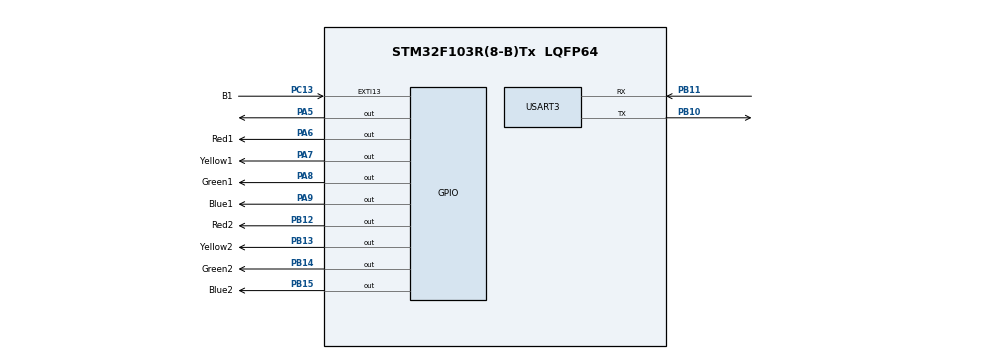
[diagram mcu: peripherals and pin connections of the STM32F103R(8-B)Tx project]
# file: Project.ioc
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FREERTOS.Queues01=CLI_Queue,16,uint16_t,0,Dynamic,NULL,NULL;Status_Queue,16,uint16_t,0,Dynamic,NULL,NULL
FREERTOS.Tasks01=StateController,32,128,State_Controller_Task,Default,NULL,Dynamic,NULL,NULL;CLI,8,128,CLI_Task,Default,NULL,Dynamic,NULL,NULL;Status_Update,8,128,Status_Update_Task,Default,NULL,Dynamic,NULL,NULL
Mcu.Family=STM32F1
Mcu.Name=STM32F103R(8-B)Tx
Mcu.Package=LQFP64
NVIC.PriorityGroup=NVIC_PRIORITYGROUP_4
NVIC.TIM4_IRQn=true\:0\:0\:false\:false\:true\:false\:false\:true
NVIC.TimeBase=TIM4_IRQn
NVIC.TimeBaseIP=TIM4
PA13.Mode=Serial_Wire
PA13.Signal=SYS_JTMS-SWDIO
PA14.Mode=Serial_Wire
PA14.Signal=SYS_JTCK-SWCLK
PA5.Signal=GPIO_Output
PA6.GPIO_Label=Red1
PA6.Signal=GPIO_Output
PA7.GPIO_Label=Yellow1
PA7.Signal=GPIO_Output
PA8.GPIO_Label=Green1
PA8.Signal=GPIO_Output
PA9.GPIO_Label=Blue1
PA9.Signal=GPIO_Output
PB10.Mode=Asynchronous
PB10.Signal=USART3_TX
PB11.Mode=Asynchronous
PB11.Signal=USART3_RX
PB12.GPIO_Label=Red2
PB12.Signal=GPIO_Output
PB13.GPIO_Label=Yellow2
PB13.Signal=GPIO_Output
PB14.GPIO_Label=Green2
PB14.Signal=GPIO_Output
PB15.GPIO_Label=Blue2
PB15.Signal=GPIO_Output
PC13-TAMPER-RTC.GPIO_Label=B1
PC13-TAMPER-RTC.Signal=GPXTI13
ProjectManager.HeapSize=0x200
ProjectManager.StackSize=0x400
ProjectManager.TargetToolchain=STM32CubeIDE
RCC.APB1Freq_Value=8000000
RCC.APB2Freq_Value=8000000
TIM2.Prescaler=8000
USART3.VirtualMode=VM_ASYNC
VP_FREERTOS_VS_CMSIS_V2.Mode=CMSIS_V2
VP_SYS_VS_tim4.Mode=TIM4
VP_TIM2_VS_ClockSourceINT.Mode=Internal
board=custom

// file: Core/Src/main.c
/* USER CODE BEGIN Header */
/**
  ******************************************************************************
  * @file           : main.c
  * @brief          : Main program body
  ******************************************************************************
  * @attention
  *
  * <h2><center>&copy; Copyright (c) 2020 STMicroelectronics.
  * All rights reserved.</center></h2>
  *
  * This software component is licensed by ST under BSD 3-Clause license,
  * the "License"; You may not use this file except in compliance with the
  * License. You may obtain a copy of the License at:
  *                        opensource.org/licenses/BSD-3-Clause
  *
  ******************************************************************************
  */

/*******************************************************************************
 *
 * Author: Justin Igmen
 * Class: ENEL 487
 * SID: 200364880
 *
 * This program simulates a traffic light controller.
 *
 * Credits: Trevor Douglas for providing part of the main.c file
 *
 *******************************************************************************/

/* USER CODE END Header */
#include "main.h"
#include "cmsis_os.h"

/* USER CODE BEGIN Includes */
#include "./usr/CLI.h"
#include <stdio.h>
#include <stdlib.h>
#include <string.h>
/* USER CODE END Includes */

/* USER CODE BEGIN PD */
#define DEFAULT_PERIOD		1

#define FSM_MODE 			1000
#define SCM_MODE 			2000
#define ATM					100

#define FSM_ON 				1500
#define FSM_OFF 			500

#define PRI_GREEN_TIME 		83500
#define PRI_YELLOW_TIME		3500
#define SEC_GREEN_TIME		28000
#define SEC_YELLOW_TIME		3500
#define ALL_RED_TIME		6000

#define WALK_BLINK_TIME		1000
#define PRI_WALK_TIME		70500
#define	PRI_WALK_WARN_TIME	13000
#define	PRI_DONT_WALK_TIME	41000
#define SEC_WALK_TIME		93000
#define	SEC_WALK_WARN_TIME	11500
#define	SEC_DONT_WALK_TIME	20000
/* USER CODE END PD */

TIM_HandleTypeDef htim2;

UART_HandleTypeDef huart3;

/* Definitions for StateController */
osThreadId_t StateControllerHandle;
const osThreadAttr_t StateController_attributes = {
  .name = "StateController",
  .priority = (osPriority_t) osPriorityAboveNormal,
  .stack_size = 128 * 4
};
/* Definitions for CLI */
osThreadId_t CLIHandle;
const osThreadAttr_t CLI_attributes = {
  .name = "CLI",
  .priority = (osPriority_t) osPriorityLow,
  .stack_size = 128 * 4
};
/* Definitions for Status_Update */
osThreadId_t Status_UpdateHandle;
const osThreadAttr_t Status_Update_attributes = {
  .name = "Status_Update",
  .priority = (osPriority_t) osPriorityLow,
  .stack_size = 128 * 4
};
/* Definitions for CLI_Queue */
osMessageQueueId_t CLI_QueueHandle;
const osMessageQueueAttr_t CLI_Queue_attributes = {
  .name = "CLI_Queue"
};
/* Definitions for Status_Queue */
osMessageQueueId_t Status_QueueHandle;
const osMessageQueueAttr_t Status_Queue_attributes = {
  .name = "Status_Queue"
};
/* USER CODE BEGIN PV */
uint8_t cliBufferTX[MAX_USER_INPUT];
uint8_t cliRXChar;
uint8_t cliBufferRX[MAX_USER_INPUT];
bool isCompleteLine = false;
int counter = 0;
uint16_t timer;

/* USER CODE END PV */

void SystemClock_Config(void);
static void MX_GPIO_Init(void);
static void MX_USART3_UART_Init(void);
static void MX_TIM2_Init(void);
void State_Controller_Task(void *argument);
void CLI_Task(void *argument);
void Status_Update_Task(void *argument);

/* USER CODE BEGIN PFP */

void turnOffAllLights();

/* Private function prototypes -----------------------------------------------*/
void SystemClock_Config(void);
static void MX_GPIO_Init(void);
static void MX_USART2_UART_Init(void);
static void MX_USART3_UART_Init(void);
void StartBlink01(void *argument);
void RX_CLI_Task(void *argument);
void Status_CLI_Task(void *argument);

/* USER CODE END PFP */

int main(void)
{
  /* USER CODE BEGIN 1 */
	cmd_counter = 0;
  /* USER CODE END 1 */

  /* MCU Configuration--------------------------------------------------------*/

  /* Reset of all peripherals, Initializes the Flash interface and the Systick. */
  HAL_Init();

  /* Configure the system clock */
  SystemClock_Config();

  /* Initialize all configured peripherals */
  MX_GPIO_Init();
  MX_USART3_UART_Init();
  MX_TIM2_Init();
  /* USER CODE BEGIN 2 */
  turnOffAllLights();

  //Clear the screen
  strcpy ( cliBufferTX, "\x1b[2J" );
  printStringBlocking("\x1b[2J");
  printStringBlocking(CLEAR_SCREEN);   // clear entire screen
  HAL_Delay(500);
  //Print the welcome message
  welcomeMessage();
  HAL_Delay(2000);

  //Clear the screen
  printStringBlocking(CLEAR_SCREEN);   // clear entire screen
  printStringBlocking("\x1b[5;1H");		// cursor to row#, col#

  printStringBlocking("\x1b[5;r");	// set scrolling region
  printStringBlocking("\x1b[5;1H");// cursor to row#, col#
  printStringBlocking(PROMPT);

  /* USER CODE END 2 */

  /* Init scheduler */
  osKernelInitialize();

  /* Create the queue(s) */
  /* creation of CLI_Queue */
  CLI_QueueHandle = osMessageQueueNew (16, sizeof(uint16_t), &CLI_Queue_attributes);

  /* creation of Status_Queue */
  Status_QueueHandle = osMessageQueueNew (16, sizeof(uint16_t), &Status_Queue_attributes);

  /* Create the thread(s) */
  /* creation of StateController */
  StateControllerHandle = osThreadNew(State_Controller_Task, NULL, &StateController_attributes);

  /* creation of CLI */
  CLIHandle = osThreadNew(CLI_Task, NULL, &CLI_attributes);

  /* creation of Status_Update */
  Status_UpdateHandle = osThreadNew(Status_Update_Task, NULL, &Status_Update_attributes);

  /* Start scheduler */
  osKernelStart();

  /* We should never get here as control is now taken by the scheduler */
  /* Infinite loop */
  while (1)
  {

  }
}

void SystemClock_Config(void)
{
  RCC_OscInitTypeDef RCC_OscInitStruct = {0};
  RCC_ClkInitTypeDef RCC_ClkInitStruct = {0};

  /** Initializes the RCC Oscillators according to the specified parameters
  * in the RCC_OscInitTypeDef structure.
  */
  RCC_OscInitStruct.OscillatorType = RCC_OSCILLATORTYPE_HSI;
  RCC_OscInitStruct.HSIState = RCC_HSI_ON;
  RCC_OscInitStruct.HSICalibrationValue = RCC_HSICALIBRATION_DEFAULT;
  RCC_OscInitStruct.PLL.PLLState = RCC_PLL_NONE;
  if (HAL_RCC_OscConfig(&RCC_OscInitStruct) != HAL_OK)
  {
    Error_Handler();
  }
  /** Initializes the CPU, AHB and APB buses clocks
  */
  RCC_ClkInitStruct.ClockType = RCC_CLOCKTYPE_HCLK|RCC_CLOCKTYPE_SYSCLK
                              |RCC_CLOCKTYPE_PCLK1|RCC_CLOCKTYPE_PCLK2;
  RCC_ClkInitStruct.SYSCLKSource = RCC_SYSCLKSOURCE_HSI;
  RCC_ClkInitStruct.AHBCLKDivider = RCC_SYSCLK_DIV1;
  RCC_ClkInitStruct.APB1CLKDivider = RCC_HCLK_DIV1;
  RCC_ClkInitStruct.APB2CLKDivider = RCC_HCLK_DIV1;

  if (HAL_RCC_ClockConfig(&RCC_ClkInitStruct, FLASH_LATENCY_0) != HAL_OK)
  {
    Error_Handler();
  }
}

static void MX_TIM2_Init(void)
{

  TIM_ClockConfigTypeDef sClockSourceConfig = {0};
  TIM_MasterConfigTypeDef sMasterConfig = {0};

  htim2.Instance = TIM2;
  htim2.Init.Prescaler = 8000;
  htim2.Init.CounterMode = TIM_COUNTERMODE_UP;
  htim2.Init.Period = 65535;
  htim2.Init.ClockDivision = TIM_CLOCKDIVISION_DIV1;
  htim2.Init.AutoReloadPreload = TIM_AUTORELOAD_PRELOAD_DISABLE;
  if (HAL_TIM_Base_Init(&htim2) != HAL_OK)
  {
    Error_Handler();
  }
  sClockSourceConfig.ClockSource = TIM_CLOCKSOURCE_INTERNAL;
  if (HAL_TIM_ConfigClockSource(&htim2, &sClockSourceConfig) != HAL_OK)
  {
    Error_Handler();
  }
  sMasterConfig.MasterOutputTrigger = TIM_TRGO_RESET;
  sMasterConfig.MasterSlaveMode = TIM_MASTERSLAVEMODE_DISABLE;
  if (HAL_TIMEx_MasterConfigSynchronization(&htim2, &sMasterConfig) != HAL_OK)
  {
    Error_Handler();
  }

}

static void MX_USART3_UART_Init(void)
{

  huart3.Instance = USART3;
  huart3.Init.BaudRate = 115200;
  huart3.Init.WordLength = UART_WORDLENGTH_8B;
  huart3.Init.StopBits = UART_STOPBITS_1;
  huart3.Init.Parity = UART_PARITY_NONE;
  huart3.Init.Mode = UART_MODE_TX_RX;
  huart3.Init.HwFlowCtl = UART_HWCONTROL_NONE;
  huart3.Init.OverSampling = UART_OVERSAMPLING_16;
  if (HAL_UART_Init(&huart3) != HAL_OK)
  {
    Error_Handler();
  }

}

static void MX_GPIO_Init(void)
{
  GPIO_InitTypeDef GPIO_InitStruct = {0};

  /* GPIO Ports Clock Enable */
  __HAL_RCC_GPIOC_CLK_ENABLE();
  __HAL_RCC_GPIOA_CLK_ENABLE();
  __HAL_RCC_GPIOB_CLK_ENABLE();

  /*Configure GPIO pin Output Level */
  HAL_GPIO_WritePin(GPIOA, GPIO_PIN_5|Red1_Pin|Yellow1_Pin|Green1_Pin
                          |Blue1_Pin, GPIO_PIN_RESET);

  /*Configure GPIO pin Output Level */
  HAL_GPIO_WritePin(GPIOB, Red2_Pin|Yellow2_Pin|Green2_Pin|Blue2_Pin, GPIO_PIN_RESET);

  /*Configure GPIO pin : B1_Pin */
  GPIO_InitStruct.Pin = B1_Pin;
  GPIO_InitStruct.Mode = GPIO_MODE_IT_RISING;
  GPIO_InitStruct.Pull = GPIO_NOPULL;
  HAL_GPIO_Init(B1_GPIO_Port, &GPIO_InitStruct);

  /*Configure GPIO pins : PA5 Red1_Pin Yellow1_Pin Green1_Pin
                           Blue1_Pin */
  GPIO_InitStruct.Pin = GPIO_PIN_5|Red1_Pin|Yellow1_Pin|Green1_Pin
                          |Blue1_Pin;
  GPIO_InitStruct.Mode = GPIO_MODE_OUTPUT_PP;
  GPIO_InitStruct.Pull = GPIO_NOPULL;
  GPIO_InitStruct.Speed = GPIO_SPEED_FREQ_LOW;
  HAL_GPIO_Init(GPIOA, &GPIO_InitStruct);

  /*Configure GPIO pins : Red2_Pin Yellow2_Pin Green2_Pin Blue2_Pin */
  GPIO_InitStruct.Pin = Red2_Pin|Yellow2_Pin|Green2_Pin|Blue2_Pin;
  GPIO_InitStruct.Mode = GPIO_MODE_OUTPUT_PP;
  GPIO_InitStruct.Pull = GPIO_NOPULL;
  GPIO_InitStruct.Speed = GPIO_SPEED_FREQ_LOW;
  HAL_GPIO_Init(GPIOB, &GPIO_InitStruct);

}

/* USER CODE BEGIN 4 */

/**
  * @brief Turns off all the LED to reset
  * @param None
  * @retval None
  */
void turnOffAllLights() {
	HAL_GPIO_WritePin(GPIOA, Red1_Pin|Yellow1_Pin|Green1_Pin|Blue1_Pin, GPIO_PIN_SET);
	HAL_GPIO_WritePin(GPIOB, Red2_Pin|Yellow2_Pin|Green2_Pin|Blue2_Pin, GPIO_PIN_SET);
}

/**
  * @brief Displays user's input to the CLI
  * @param message: pointer to user's message
  * @retval None
  */
void printStringBlocking (const char* message)
{
    int i=0;
    HAL_StatusTypeDef	st;

    //Have to wait for the last transmission to go.
    while(huart3.gState == HAL_UART_STATE_BUSY_TX){}

	for (const char* p = message; *p; ++p) {
    	cliBufferTX[i] =  *p;
    	i++;
    }
	st = HAL_UART_Transmit(&huart3, cliBufferTX, i, 1000);
	if (st != HAL_OK)
	{
		Error_Handler();
	}
}

/**
  * @brief Send a byte/char to the CLI
  * @param msgChar: user's char input
  * @retval None
  */
void sendByte (char msgChar)
{
    while(huart3.gState == HAL_UART_STATE_BUSY_TX){}
	HAL_UART_Transmit(&huart3, &msgChar, 1,1000);

}

/**
  * @brief Handles the user's command
  * @param user_input: User's input after pressing enter
  * @retval uint16_t: this will be passed to a queue to be processed by another task
  */
uint16_t handleCommand(const char * user_input){
	char help[] = "help";
	char mode[] = "mode";
	char scm[] = "scm";
	char fsm[] = "fsm";
	char atm[] = "atm";	//accelerated test mode

	char split_command[MAX_USER_INPUT];
	char full_command[MAX_USER_INPUT];
	uint16_t atm_period;
	bool error = false;

	for (int i = 0; i < MAX_USER_INPUT; ++i) {	//reset the char arrays
		split_command[i] = 0;
		full_command[i] = 0;
	}

	int i = 0;
	for (const char* p = user_input; *p; ++p) {	//assign user input to a char array
		full_command[i] = *p;
    	i++;
    }

	char* space = user_input;
	while (*space == ' ') {	//ignore leading whitespace
		space++;
	}
	user_input = space;

	i = 0;
	for (const char* p = user_input; *p; ++p) {	//takes the first parameter of user's input
		if ((strcmp(split_command, mode) == 0) || (strcmp(split_command, atm) == 0)){
			if (*p == ' ' || *p == '\r'){
				user_input = p+1;
				break;
			}
		}
		else {
			if (*p == ' ' || *p == '\r'){	//break the loop if space or enter is found
				break;
			}
		}

		split_command[i] = *p;	//the rest of user's input
    	i++;
    }

	if (strcmp(split_command, help) == 0) {
		printStringBlocking("\r\nHelpful commands: \r\n");
		printStringBlocking("help:");
		printStringBlocking("\t\tdisplay a list of valid commands\r\n");

		printStringBlocking("mode fsm:");
		printStringBlocking("\tswitch to Failsafe mode\r\n");

		printStringBlocking("mode scm:");
		printStringBlocking("\tswitch to Static Cycle mode\r\n");

		printStringBlocking("atm x:");
		printStringBlocking("\t\tenter accelerated test mode with ");
		printStringBlocking("multiplication factor x (1-100)\r\n");
	}
	else if(strcmp(split_command, mode) == 0) {
		for (int i = 0; i < MAX_USER_INPUT; ++i) {	//reset input
			split_command[i] = 0;
		}

		i = 0;
		for (const char* p = user_input; *p; ++p) {
			if (*p == ' ' || *p == '\r'){
				user_input = p++;
				break;
			}

			split_command[i] =  *p;	//assign the second param of user input
			i++;
		}
		if(strcmp(fsm, split_command) == 0) {
			return FSM_MODE;
		}
		else if(strcmp(scm, split_command) == 0) {
			return SCM_MODE;
		}
		else {
			error = true;
		}
	}
	else if(strcmp(split_command, atm) == 0) {
		for (int i = 0; i < MAX_USER_INPUT; ++i) {
			split_command[i] = 0;
		}

		i = 0;
		for (const char* p = user_input; *p; ++p) {
			if (*p == ' ' || *p == '\r'){
				user_input = p++;
				break;
			}

			split_command[i] =  *p;
			i++;
		}

		atm_period = atoi(split_command);
		if (atm_period > 0 && atm_period <= 100) {
			return atm_period;
		}
		else {
			error = true;
		}
	}
	else if (split_command[0] == '\0'){	//if user presses enter with nothing else typed
		//do nothing
	}
	else {
		error = true;
	}

	if (error) {	//error check
		printStringBlocking("\r\nInvalid command");
	}

	return 0;
}

/* USER CODE END 4 */

void State_Controller_Task(void *argument)
{
  /* USER CODE BEGIN 5 */
  uint16_t cliMessage;
  uint16_t statusMessage;
  osStatus_t status;
  uint16_t state = FSM_MODE;
  uint16_t period = DEFAULT_PERIOD;

  //Send a status message straight away
  statusMessage = state;
  if(osMessageQueuePut(Status_QueueHandle, &statusMessage, 1U, 0U)!= osOK)
  {
    Error_Handler();
  }
  /* Infinite loop */
  for(;;)
  {
	  int count = 0;
	//check for messages but do not block.
	status = osMessageQueueGet(CLI_QueueHandle, &cliMessage, NULL, 0U );
	if(status == osOK)
	{
		//This means a message has been received
		if (cliMessage <= ATM) {	//the message received is a period
			period = cliMessage;
		}

		if (cliMessage == FSM_MODE || cliMessage == SCM_MODE){//the message received is for the mode
			state = cliMessage;
		}

		statusMessage = period + state;	//adds these to be passed on to the queue

		if(osMessageQueuePut(Status_QueueHandle, &statusMessage, 1U, 0U)!= osOK)
	    {
		  Error_Handler();
		}

	}

	if (state == FSM_MODE){
		HAL_GPIO_WritePin(GPIOA, Red1_Pin, GPIO_PIN_RESET);
		HAL_GPIO_WritePin(GPIOB, Red2_Pin, GPIO_PIN_RESET);
		osDelay(FSM_ON / period);
		HAL_GPIO_WritePin(GPIOA, Red1_Pin, GPIO_PIN_SET);
		HAL_GPIO_WritePin(GPIOB, Red2_Pin, GPIO_PIN_SET);
		osDelay(FSM_OFF / period);
	}
	else if (state == SCM_MODE){	//reset is on set is off
		turnOffAllLights();
		HAL_GPIO_WritePin(GPIOA, Red1_Pin, GPIO_PIN_RESET);
		HAL_GPIO_WritePin(GPIOB, Red2_Pin, GPIO_PIN_RESET);
		osDelay(ALL_RED_TIME / period);

		HAL_GPIO_WritePin(GPIOA, Red1_Pin, GPIO_PIN_SET);
		HAL_GPIO_WritePin(GPIOA, Green1_Pin, GPIO_PIN_RESET);
		HAL_GPIO_WritePin(GPIOA, Blue1_Pin, GPIO_PIN_RESET);
		osDelay(PRI_WALK_TIME / period);

		HAL_TIM_Base_Start(&htim2);	//tim2 starts counting
		timer = __HAL_TIM_GET_COUNTER(&htim2);	//gets the counter value
		while(count < (PRI_WALK_WARN_TIME / period)) {
			if (__HAL_TIM_GET_COUNTER(&htim2) - timer >= (1000/ period)){
				count += 1000/period;
			}
			HAL_GPIO_TogglePin(GPIOA, Blue1_Pin);
			timer = __HAL_TIM_GET_COUNTER(&htim2);
			osDelay(WALK_BLINK_TIME/period);
		}

		HAL_GPIO_WritePin(GPIOA, Blue1_Pin, GPIO_PIN_SET);
		HAL_GPIO_WritePin(GPIOA, Green1_Pin, GPIO_PIN_SET);
		HAL_GPIO_WritePin(GPIOA, Yellow1_Pin, GPIO_PIN_RESET);
		osDelay(PRI_YELLOW_TIME / period);

		HAL_GPIO_WritePin(GPIOA, Yellow1_Pin, GPIO_PIN_SET);
		HAL_GPIO_WritePin(GPIOA, Red1_Pin, GPIO_PIN_RESET);
		HAL_GPIO_WritePin(GPIOB, Red2_Pin, GPIO_PIN_RESET);
		osDelay(ALL_RED_TIME / period);

		//secondary
		HAL_GPIO_WritePin(GPIOB, Red2_Pin, GPIO_PIN_SET);
		HAL_GPIO_WritePin(GPIOB, Green2_Pin, GPIO_PIN_RESET);
		HAL_GPIO_WritePin(GPIOB, Blue2_Pin, GPIO_PIN_RESET);
		osDelay(SEC_WALK_TIME / period);

		count = 0;
		HAL_TIM_Base_Start(&htim2);	//tim2 starts counting
		timer = __HAL_TIM_GET_COUNTER(&htim2);	//gets the counter value
		while(count < (SEC_WALK_WARN_TIME / period)) {
			if (__HAL_TIM_GET_COUNTER(&htim2) - timer >= (1000 / period)){
				count += 1000/period;
			}
			HAL_GPIO_TogglePin(GPIOB, Blue2_Pin);
			timer = __HAL_TIM_GET_COUNTER(&htim2);
			osDelay(WALK_BLINK_TIME/period);
		}

		HAL_GPIO_WritePin(GPIOB, Blue2_Pin, GPIO_PIN_SET);
		HAL_GPIO_WritePin(GPIOB, Green2_Pin, GPIO_PIN_SET);
		HAL_GPIO_WritePin(GPIOB, Yellow2_Pin, GPIO_PIN_RESET);
		osDelay(SEC_YELLOW_TIME / period);

		HAL_GPIO_WritePin(GPIOB, Yellow2_Pin, GPIO_PIN_SET);
	}
  }

  osThreadTerminate(NULL);
  /* USER CODE END 5 */
}

void CLI_Task(void *argument)
{
  /* USER CODE BEGIN CLI_Task */
	uint16_t cliMessage;
  /* Infinite loop */
	for(;;)
	{
		//This starts the process of receiving the data.
		if ((HAL_UART_Receive ( &huart3, &cliRXChar, 1, 10) == HAL_OK))
		{
			//Check if this is a complete line.
			isCompleteLine =  returnLineOrPartialLine (cliBufferRX, cliRXChar);

			if(isCompleteLine)
			{
				cliMessage = handleCommand(cliBufferRX);

				//Assume that things are fine :)
				printStringBlocking("\r\n");
				printStringBlocking(PROMPT);

				//Send a message to the controller.

				if (cliMessage > 0){
					if(osMessageQueuePut(CLI_QueueHandle, &cliMessage, 1U, 0U)!= osOK)
					{
					  Error_Handler();
					}
				}
			}
		}
		osDelay(50);

  }
  /* USER CODE END CLI_Task */
}

void Status_Update_Task(void *argument)
{
  /* USER CODE BEGIN Status_Update_Task */

	uint16_t statusMessage;
	uint16_t period = 1;
	osStatus_t status;
	static char outstring[50];
	uint8_t mode[10];

	/* Infinite loop */
	for(;;)
	{
		status = osMessageQueueGet(Status_QueueHandle, &statusMessage, NULL, 0U );
		if(status == osOK)
		{
			if (statusMessage > SCM_MODE) {
				uint8_t state[] = "SCM Mode";
				strcpy(mode, state);
				period = statusMessage - SCM_MODE;
			}
			else if (statusMessage > FSM_MODE && statusMessage < SCM_MODE){
				uint8_t state[] = "FSM Mode";
				strcpy(mode, state);
				period = statusMessage - FSM_MODE;
			}
			else {	//startup
				uint8_t state[] = "FSM Mode";
				strcpy(mode, state);
				period = 1;
			}
		}

		printStringBlocking(SAVE_CURSOR);
		printStringBlocking("\x1b[1;1H");

		snprintf(outstring, 50,"Mode: %s \t Speed: x%i ", mode, period);
		printStringBlocking(outstring);
		printStringBlocking(RESTORE_CURSOR);

		osDelay(1000);
	}
  /* USER CODE END Status_Update_Task */
}

void HAL_TIM_PeriodElapsedCallback(TIM_HandleTypeDef *htim)
{
  if (htim->Instance == TIM4) {
    HAL_IncTick();
  }
}

void Error_Handler(void)
{
}

/************************ (C) COPYRIGHT STMicroelectronics *****END OF FILE****/
